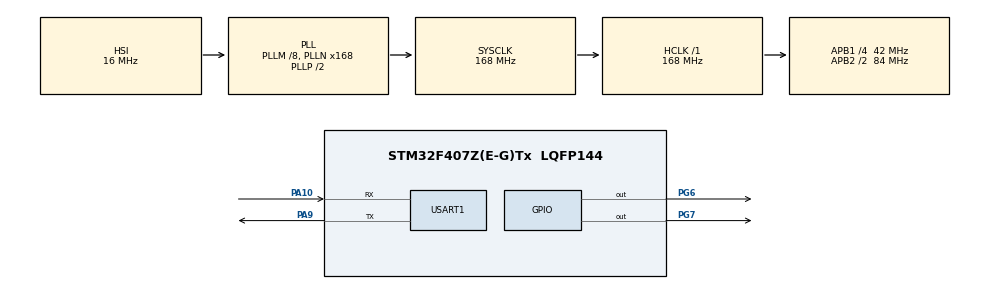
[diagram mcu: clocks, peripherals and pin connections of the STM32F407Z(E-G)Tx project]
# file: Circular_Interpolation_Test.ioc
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Mcu.Family=STM32F4
Mcu.Name=STM32F407Z(E-G)Tx
Mcu.Package=LQFP144
NVIC.PriorityGroup=NVIC_PRIORITYGROUP_4
NVIC.USART1_IRQn=true\:0\:0\:false\:false\:true\:true\:true\:true
PA10.Mode=Asynchronous
PA10.Signal=USART1_RX
PA13.Mode=Serial_Wire
PA13.Signal=SYS_JTMS-SWDIO
PA14.Mode=Serial_Wire
PA14.Signal=SYS_JTCK-SWCLK
PA9.Mode=Asynchronous
PA9.Signal=USART1_TX
PG6.GPIO_Speed=GPIO_SPEED_FREQ_HIGH
PG6.Signal=GPIO_Output
PG7.GPIO_Speed=GPIO_SPEED_FREQ_HIGH
PG7.Signal=GPIO_Output
PH0-OSC_IN.Mode=HSE-External-Oscillator
PH0-OSC_IN.Signal=RCC_OSC_IN
PH1-OSC_OUT.Mode=HSE-External-Oscillator
PH1-OSC_OUT.Signal=RCC_OSC_OUT
ProjectManager.HeapSize=0x200
ProjectManager.StackSize=0x400
ProjectManager.TargetToolchain=MDK-ARM V5.32
RCC.48MHZClocksFreq_Value=84000000
RCC.AHBFreq_Value=168000000
RCC.APB1CLKDivider=RCC_HCLK_DIV4
RCC.APB1Freq_Value=42000000
RCC.APB1TimFreq_Value=84000000
RCC.APB2CLKDivider=RCC_HCLK_DIV2
RCC.APB2Freq_Value=84000000
RCC.APB2TimFreq_Value=168000000
RCC.CortexFreq_Value=168000000
RCC.HCLKFreq_Value=168000000
RCC.HSE_VALUE=25000000
RCC.HSI_VALUE=16000000
RCC.LSE_VALUE=32768
RCC.PLLM=8
RCC.PLLN=168
RCC.SYSCLKFreq_VALUE=168000000
RCC.SYSCLKSource=RCC_SYSCLKSOURCE_PLLCLK
RCC.VCOOutputFreq_Value=336000000
USART1.VirtualMode=VM_ASYNC
board=custom

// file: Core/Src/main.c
/* USER CODE BEGIN Header */
/**
  ******************************************************************************
  * @file           : main.c
  * @brief          : Main program body
  ******************************************************************************
  * @attention
  *
  * Copyright (c) 2026 STMicroelectronics.
  * All rights reserved.
  *
  * This software is licensed under terms that can be found in the LICENSE file
  * in the root directory of this software component.
  * If no LICENSE file comes with this software, it is provided AS-IS.
  *
  ******************************************************************************
  */
/* USER CODE END Header */
#include "main.h"
#include "usart.h"
#include "gpio.h"

/* USER CODE BEGIN Includes */
#include <string.h>
#include <stdio.h>
#include <stdlib.h> // 使用 atol 需要
#include "Arc_Control.h"
/* USER CODE END Includes */

void SystemClock_Config(void);

/* USER CODE BEGIN 0 */
uint8_t rx_buf[128];
uint8_t rx_data;
uint8_t rx_index = 0;
Arc_Task_t gArcTask;
 volatile uint8_t start_arc_flag = 0;
// 串口中断回调
void HAL_UART_RxCpltCallback(UART_HandleTypeDef *huart) {
    if (huart->Instance == USART1) {
        if (rx_data == '\n' || rx_data == '\r') {
            rx_buf[rx_index] = '\0'; // 封口字符串

            // --- 诊断：先发回 Recv OK，证明串口通了 ---
            HAL_UART_Transmit(&huart1, (uint8_t*)"Recv OK\r\n", 9, 10);

            // --- 轻量化解析开始 ---
            char *token = strtok((char*)rx_buf, " "); // 找第一个词 "ARC"
            if (token != NULL && strcmp(token, "ARC") == 0) {
                // 依次跳过空格，取出后续参数并转换
                token = strtok(NULL, " "); if(token) gArcTask.endX = atol(token);
                token = strtok(NULL, " "); if(token) gArcTask.endY = atol(token);
                token = strtok(NULL, " "); if(token) gArcTask.I = atol(token);
                token = strtok(NULL, " "); if(token) gArcTask.J = atol(token);
                token = strtok(NULL, " "); if(token) gArcTask.dir = (Arc_Dir_t)atoi(token);
                token = strtok(NULL, " "); if(token) gArcTask.stepDelay = atol(token);

                // 解析成功，立起标志位
                start_arc_flag = 1;
                HAL_UART_Transmit(&huart1, (uint8_t*)"Logic Triggered!\r\n", 18, 10);
            }

            rx_index = 0; // 重置索引
        } else {
            if (rx_index < 127) {
                rx_buf[rx_index++] = rx_data;
            }
        }
        // 重新开启下一次接收
        HAL_UART_Receive_IT(&huart1, &rx_data, 1);
    }
}
/* USER CODE END 0 */

int main(void)
{

  /* MCU Configuration--------------------------------------------------------*/

  /* Reset of all peripherals, Initializes the Flash interface and the Systick. */
  HAL_Init();

  /* Configure the system clock */
  SystemClock_Config();

  /* Initialize all configured peripherals */
  MX_GPIO_Init();
  MX_USART1_UART_Init();
  /* USER CODE BEGIN 2 */
  HAL_GPIO_WritePin(GPIOG, GPIO_PIN_6, GPIO_PIN_SET);
HAL_GPIO_WritePin(GPIOG, GPIO_PIN_7, GPIO_PIN_SET);
HAL_UART_Receive_IT(&huart1, &rx_data, 1);
  /* USER CODE END 2 */

  /* Infinite loop */
  while (1)
  {

    /* USER CODE BEGIN 3 */

   if (start_arc_flag == 1) {
        Arc_Interpolate_Process(&gArcTask); // 在这里跑，不会死锁
        start_arc_flag = 0; // 干完活把标志位放下
    }

  }
  /* USER CODE END 3 */
}

void SystemClock_Config(void)
{
  RCC_OscInitTypeDef RCC_OscInitStruct = {0};
  RCC_ClkInitTypeDef RCC_ClkInitStruct = {0};

  /** Configure the main internal regulator output voltage
  */
  __HAL_RCC_PWR_CLK_ENABLE();
  __HAL_PWR_VOLTAGESCALING_CONFIG(PWR_REGULATOR_VOLTAGE_SCALE1);

  /** Initializes the RCC Oscillators according to the specified parameters
  * in the RCC_OscInitTypeDef structure.
  */
  RCC_OscInitStruct.OscillatorType = RCC_OSCILLATORTYPE_HSI;
  RCC_OscInitStruct.HSIState = RCC_HSI_ON;
  RCC_OscInitStruct.HSICalibrationValue = RCC_HSICALIBRATION_DEFAULT;
  RCC_OscInitStruct.PLL.PLLState = RCC_PLL_ON;
  RCC_OscInitStruct.PLL.PLLSource = RCC_PLLSOURCE_HSI;
  RCC_OscInitStruct.PLL.PLLM = 8;
  RCC_OscInitStruct.PLL.PLLN = 168;
  RCC_OscInitStruct.PLL.PLLP = RCC_PLLP_DIV2;
  RCC_OscInitStruct.PLL.PLLQ = 4;
  if (HAL_RCC_OscConfig(&RCC_OscInitStruct) != HAL_OK)
  {
    Error_Handler();
  }

  /** Initializes the CPU, AHB and APB buses clocks
  */
  RCC_ClkInitStruct.ClockType = RCC_CLOCKTYPE_HCLK|RCC_CLOCKTYPE_SYSCLK
                              |RCC_CLOCKTYPE_PCLK1|RCC_CLOCKTYPE_PCLK2;
  RCC_ClkInitStruct.SYSCLKSource = RCC_SYSCLKSOURCE_PLLCLK;
  RCC_ClkInitStruct.AHBCLKDivider = RCC_SYSCLK_DIV1;
  RCC_ClkInitStruct.APB1CLKDivider = RCC_HCLK_DIV4;
  RCC_ClkInitStruct.APB2CLKDivider = RCC_HCLK_DIV2;

  if (HAL_RCC_ClockConfig(&RCC_ClkInitStruct, FLASH_LATENCY_5) != HAL_OK)
  {
    Error_Handler();
  }
}

void Error_Handler(void)
{
  __disable_irq();
  while (1)
  {
  }
}
